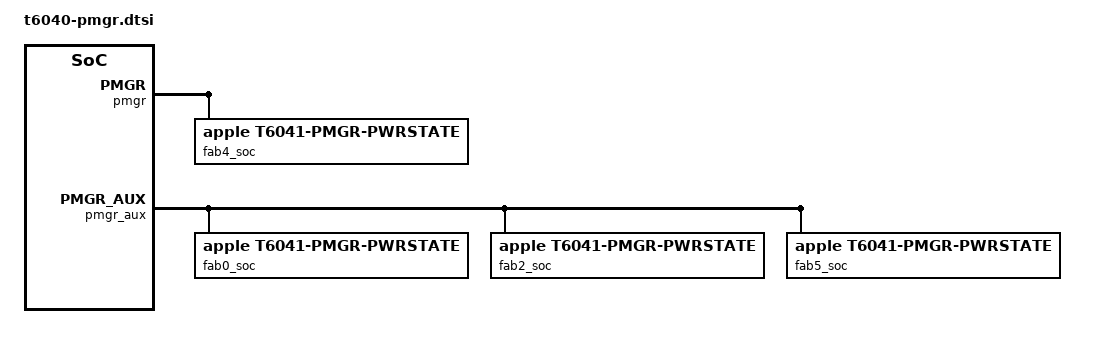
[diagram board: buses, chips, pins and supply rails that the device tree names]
// SPDX-License-Identifier: GPL-2.0+ OR MIT
/*
 * T6040 PMGR power domains the T6041 tree does not describe yet.
 *
 * The J773s and J616c ADTs list the same domains at the same offsets;
 * t604x-pmgr.dtsi holds the ones the J616c has qualified.
 *
 * Copyright The Asahi Linux Contributors
 */

&pmgr {
	ps_apcie_gp: power-controller@100 {
		compatible = "apple,t6041-pmgr-pwrstate", "apple,t8103-pmgr-pwrstate";
		reg = <0x100 4>;
		#power-domain-cells = <0>;
		#reset-cells = <0>;
		label = "apcie_gp";
		status = "disabled";
	};

	ps_fab4_soc: power-controller@128 {
		compatible = "apple,t6041-pmgr-pwrstate", "apple,t8103-pmgr-pwrstate";
		reg = <0x128 4>;
		#power-domain-cells = <0>;
		#reset-cells = <0>;
		label = "fab4_soc";
		power-domains = <&ps_afc>;
		apple,always-on;
	};

	ps_fpwm1: power-controller@140 {
		compatible = "apple,t6041-pmgr-pwrstate", "apple,t8103-pmgr-pwrstate";
		reg = <0x140 4>;
		#power-domain-cells = <0>;
		#reset-cells = <0>;
		label = "fpwm1";
		power-domains = <&ps_sio>;
		status = "disabled";
	};

	ps_fpwm2: power-controller@148 {
		compatible = "apple,t6041-pmgr-pwrstate", "apple,t8103-pmgr-pwrstate";
		reg = <0x148 4>;
		#power-domain-cells = <0>;
		#reset-cells = <0>;
		label = "fpwm2";
		power-domains = <&ps_sio>;
		status = "disabled";
	};

	ps_i2c0: power-controller@150 {
		compatible = "apple,t6041-pmgr-pwrstate", "apple,t8103-pmgr-pwrstate";
		reg = <0x150 4>;
		#power-domain-cells = <0>;
		#reset-cells = <0>;
		label = "i2c0";
		power-domains = <&ps_sio>;
		status = "disabled";
	};

	ps_i2c5: power-controller@178 {
		compatible = "apple,t6041-pmgr-pwrstate", "apple,t8103-pmgr-pwrstate";
		reg = <0x178 4>;
		#power-domain-cells = <0>;
		#reset-cells = <0>;
		label = "i2c5";
		power-domains = <&ps_sio>;
		status = "disabled";
	};

	ps_i2c7: power-controller@188 {
		compatible = "apple,t6041-pmgr-pwrstate", "apple,t8103-pmgr-pwrstate";
		reg = <0x188 4>;
		#power-domain-cells = <0>;
		#reset-cells = <0>;
		label = "i2c7";
		power-domains = <&ps_sio>;
		status = "disabled";
	};

	ps_uart_p: power-controller@1a0 {
		compatible = "apple,t6041-pmgr-pwrstate", "apple,t8103-pmgr-pwrstate";
		reg = <0x1a0 4>;
		#power-domain-cells = <0>;
		#reset-cells = <0>;
		label = "uart_p";
		power-domains = <&ps_sio>;
		status = "disabled";
	};

	ps_dpa_p: power-controller@1a8 {
		compatible = "apple,t6041-pmgr-pwrstate", "apple,t8103-pmgr-pwrstate";
		reg = <0x1a8 4>;
		#power-domain-cells = <0>;
		#reset-cells = <0>;
		label = "dpa_p";
		power-domains = <&ps_sio>;
		apple,always-on;
		status = "disabled";
	};

	ps_aes: power-controller@1b0 {
		compatible = "apple,t6041-pmgr-pwrstate", "apple,t8103-pmgr-pwrstate";
		reg = <0x1b0 4>;
		#power-domain-cells = <0>;
		#reset-cells = <0>;
		label = "aes";
		power-domains = <&ps_sio>;
		apple,always-on;
		status = "disabled";
	};

	ps_spi0: power-controller@1b8 {
		compatible = "apple,t6041-pmgr-pwrstate", "apple,t8103-pmgr-pwrstate";
		reg = <0x1b8 4>;
		#power-domain-cells = <0>;
		#reset-cells = <0>;
		label = "spi0";
		power-domains = <&ps_spi_p>;
		status = "disabled";
	};

	ps_spi1: power-controller@1c0 {
		compatible = "apple,t6041-pmgr-pwrstate", "apple,t8103-pmgr-pwrstate";
		reg = <0x1c0 4>;
		#power-domain-cells = <0>;
		#reset-cells = <0>;
		label = "spi1";
		power-domains = <&ps_spi_p>;
		status = "disabled";
	};

	ps_spi3: power-controller@1d0 {
		compatible = "apple,t6041-pmgr-pwrstate", "apple,t8103-pmgr-pwrstate";
		reg = <0x1d0 4>;
		#power-domain-cells = <0>;
		#reset-cells = <0>;
		label = "spi3";
		power-domains = <&ps_spi_p>;
		status = "disabled";
	};

	ps_spi4: power-controller@1d8 {
		compatible = "apple,t6041-pmgr-pwrstate", "apple,t8103-pmgr-pwrstate";
		reg = <0x1d8 4>;
		#power-domain-cells = <0>;
		#reset-cells = <0>;
		label = "spi4";
		power-domains = <&ps_spi_p>;
		status = "disabled";
	};

	ps_spi5: power-controller@1e0 {
		compatible = "apple,t6041-pmgr-pwrstate", "apple,t8103-pmgr-pwrstate";
		reg = <0x1e0 4>;
		#power-domain-cells = <0>;
		#reset-cells = <0>;
		label = "spi5";
		power-domains = <&ps_spi_p>;
		status = "disabled";
	};

	ps_uart_n: power-controller@1f0 {
		compatible = "apple,t6041-pmgr-pwrstate", "apple,t8103-pmgr-pwrstate";
		reg = <0x1f0 4>;
		#power-domain-cells = <0>;
		#reset-cells = <0>;
		label = "uart_n";
		power-domains = <&ps_uart_p>;
		status = "disabled";
	};

	ps_uart0: power-controller@1f8 {
		compatible = "apple,t6041-pmgr-pwrstate", "apple,t8103-pmgr-pwrstate";
		reg = <0x1f8 4>;
		#power-domain-cells = <0>;
		#reset-cells = <0>;
		label = "uart0";
		power-domains = <&ps_uart_p>;
		status = "disabled";
	};

	ps_uart1: power-controller@200 {
		compatible = "apple,t6041-pmgr-pwrstate", "apple,t8103-pmgr-pwrstate";
		reg = <0x200 4>;
		#power-domain-cells = <0>;
		#reset-cells = <0>;
		label = "uart1";
		power-domains = <&ps_uart_p>;
		status = "disabled";
	};

	ps_uart2: power-controller@208 {
		compatible = "apple,t6041-pmgr-pwrstate", "apple,t8103-pmgr-pwrstate";
		reg = <0x208 4>;
		#power-domain-cells = <0>;
		#reset-cells = <0>;
		label = "uart2";
		power-domains = <&ps_uart_p>;
		status = "disabled";
	};

	ps_uart3: power-controller@210 {
		compatible = "apple,t6041-pmgr-pwrstate", "apple,t8103-pmgr-pwrstate";
		reg = <0x210 4>;
		#power-domain-cells = <0>;
		#reset-cells = <0>;
		label = "uart3";
		power-domains = <&ps_uart_p>;
		status = "disabled";
	};

	ps_uart4: power-controller@218 {
		compatible = "apple,t6041-pmgr-pwrstate", "apple,t8103-pmgr-pwrstate";
		reg = <0x218 4>;
		#power-domain-cells = <0>;
		#reset-cells = <0>;
		label = "uart4";
		power-domains = <&ps_uart_p>;
		status = "disabled";
	};

	ps_uart5: power-controller@220 {
		compatible = "apple,t6041-pmgr-pwrstate", "apple,t8103-pmgr-pwrstate";
		reg = <0x220 4>;
		#power-domain-cells = <0>;
		#reset-cells = <0>;
		label = "uart5";
		power-domains = <&ps_uart_p>;
		status = "disabled";
	};

	ps_uart6: power-controller@228 {
		compatible = "apple,t6041-pmgr-pwrstate", "apple,t8103-pmgr-pwrstate";
		reg = <0x228 4>;
		#power-domain-cells = <0>;
		#reset-cells = <0>;
		label = "uart6";
		power-domains = <&ps_uart_p>;
		status = "disabled";
	};

	ps_dpa0: power-controller@230 {
		compatible = "apple,t6041-pmgr-pwrstate", "apple,t8103-pmgr-pwrstate";
		reg = <0x230 4>;
		#power-domain-cells = <0>;
		#reset-cells = <0>;
		label = "dpa0";
		power-domains = <&ps_dpa_p>;
		status = "disabled";
	};

	ps_dpa1: power-controller@238 {
		compatible = "apple,t6041-pmgr-pwrstate", "apple,t8103-pmgr-pwrstate";
		reg = <0x238 4>;
		#power-domain-cells = <0>;
		#reset-cells = <0>;
		label = "dpa1";
		power-domains = <&ps_dpa_p>;
		status = "disabled";
	};

	ps_dpa2: power-controller@240 {
		compatible = "apple,t6041-pmgr-pwrstate", "apple,t8103-pmgr-pwrstate";
		reg = <0x240 4>;
		#power-domain-cells = <0>;
		#reset-cells = <0>;
		label = "dpa2";
		power-domains = <&ps_dpa_p>;
		status = "disabled";
	};

	ps_dpa3: power-controller@248 {
		compatible = "apple,t6041-pmgr-pwrstate", "apple,t8103-pmgr-pwrstate";
		reg = <0x248 4>;
		#power-domain-cells = <0>;
		#reset-cells = <0>;
		label = "dpa3";
		power-domains = <&ps_dpa_p>;
		status = "disabled";
	};

	ps_dpa4: power-controller@250 {
		compatible = "apple,t6041-pmgr-pwrstate", "apple,t8103-pmgr-pwrstate";
		reg = <0x250 4>;
		#power-domain-cells = <0>;
		#reset-cells = <0>;
		label = "dpa4";
		power-domains = <&ps_dpa_p>;
		status = "disabled";
	};

	ps_disp_sys: power-controller@258 {
		compatible = "apple,t6041-pmgr-pwrstate", "apple,t8103-pmgr-pwrstate";
		reg = <0x258 4>;
		#power-domain-cells = <0>;
		#reset-cells = <0>;
		label = "disp_sys";
		power-domains = <&ps_fab6_soc>;
		status = "disabled";
	};

	ps_amcc4: power-controller@260 {
		compatible = "apple,t6041-pmgr-pwrstate", "apple,t8103-pmgr-pwrstate";
		reg = <0x260 4>;
		#power-domain-cells = <0>;
		#reset-cells = <0>;
		label = "amcc4";
		power-domains = <&ps_afc>;
		apple,always-on;
		status = "disabled";
	};

	ps_amcc5: power-controller@268 {
		compatible = "apple,t6041-pmgr-pwrstate", "apple,t8103-pmgr-pwrstate";
		reg = <0x268 4>;
		#power-domain-cells = <0>;
		#reset-cells = <0>;
		label = "amcc5";
		power-domains = <&ps_afc>;
		apple,always-on;
		status = "disabled";
	};

	ps_amcc6: power-controller@270 {
		compatible = "apple,t6041-pmgr-pwrstate", "apple,t8103-pmgr-pwrstate";
		reg = <0x270 4>;
		#power-domain-cells = <0>;
		#reset-cells = <0>;
		label = "amcc6";
		power-domains = <&ps_afc>;
		apple,always-on;
		status = "disabled";
	};

	ps_amcc7: power-controller@278 {
		compatible = "apple,t6041-pmgr-pwrstate", "apple,t8103-pmgr-pwrstate";
		reg = <0x278 4>;
		#power-domain-cells = <0>;
		#reset-cells = <0>;
		label = "amcc7";
		power-domains = <&ps_afc>;
		apple,always-on;
		status = "disabled";
	};

	ps_amcc12: power-controller@280 {
		compatible = "apple,t6041-pmgr-pwrstate", "apple,t8103-pmgr-pwrstate";
		reg = <0x280 4>;
		#power-domain-cells = <0>;
		#reset-cells = <0>;
		label = "amcc12";
		power-domains = <&ps_afc>;
		apple,always-on;
		status = "disabled";
	};

	ps_amcc13: power-controller@288 {
		compatible = "apple,t6041-pmgr-pwrstate", "apple,t8103-pmgr-pwrstate";
		reg = <0x288 4>;
		#power-domain-cells = <0>;
		#reset-cells = <0>;
		label = "amcc13";
		power-domains = <&ps_afc>;
		apple,always-on;
		status = "disabled";
	};

	ps_amcc14: power-controller@290 {
		compatible = "apple,t6041-pmgr-pwrstate", "apple,t8103-pmgr-pwrstate";
		reg = <0x290 4>;
		#power-domain-cells = <0>;
		#reset-cells = <0>;
		label = "amcc14";
		power-domains = <&ps_afc>;
		apple,always-on;
		status = "disabled";
	};

	ps_amcc15: power-controller@298 {
		compatible = "apple,t6041-pmgr-pwrstate", "apple,t8103-pmgr-pwrstate";
		reg = <0x298 4>;
		#power-domain-cells = <0>;
		#reset-cells = <0>;
		label = "amcc15";
		power-domains = <&ps_afc>;
		apple,always-on;
		status = "disabled";
	};

	ps_dcs_04: power-controller@2e0 {
		compatible = "apple,t6041-pmgr-pwrstate", "apple,t8103-pmgr-pwrstate";
		reg = <0x2e0 4>;
		#power-domain-cells = <0>;
		#reset-cells = <0>;
		label = "dcs_04";
		power-domains = <&ps_amcc4>;
		apple,always-on;
		status = "disabled";
	};

	ps_dcs_05: power-controller@2e8 {
		compatible = "apple,t6041-pmgr-pwrstate", "apple,t8103-pmgr-pwrstate";
		reg = <0x2e8 4>;
		#power-domain-cells = <0>;
		#reset-cells = <0>;
		label = "dcs_05";
		power-domains = <&ps_amcc5>;
		apple,always-on;
		status = "disabled";
	};

	ps_dcs_06: power-controller@2f0 {
		compatible = "apple,t6041-pmgr-pwrstate", "apple,t8103-pmgr-pwrstate";
		reg = <0x2f0 4>;
		#power-domain-cells = <0>;
		#reset-cells = <0>;
		label = "dcs_06";
		power-domains = <&ps_amcc6>;
		apple,always-on;
		status = "disabled";
	};

	ps_dcs_07: power-controller@2f8 {
		compatible = "apple,t6041-pmgr-pwrstate", "apple,t8103-pmgr-pwrstate";
		reg = <0x2f8 4>;
		#power-domain-cells = <0>;
		#reset-cells = <0>;
		label = "dcs_07";
		power-domains = <&ps_amcc7>;
		apple,always-on;
		status = "disabled";
	};

	ps_dcs_12: power-controller@300 {
		compatible = "apple,t6041-pmgr-pwrstate", "apple,t8103-pmgr-pwrstate";
		reg = <0x300 4>;
		#power-domain-cells = <0>;
		#reset-cells = <0>;
		label = "dcs_12";
		power-domains = <&ps_amcc12>;
		apple,always-on;
		status = "disabled";
	};

	ps_dcs_13: power-controller@308 {
		compatible = "apple,t6041-pmgr-pwrstate", "apple,t8103-pmgr-pwrstate";
		reg = <0x308 4>;
		#power-domain-cells = <0>;
		#reset-cells = <0>;
		label = "dcs_13";
		power-domains = <&ps_amcc13>;
		apple,always-on;
		status = "disabled";
	};

	ps_dcs_14: power-controller@310 {
		compatible = "apple,t6041-pmgr-pwrstate", "apple,t8103-pmgr-pwrstate";
		reg = <0x310 4>;
		#power-domain-cells = <0>;
		#reset-cells = <0>;
		label = "dcs_14";
		power-domains = <&ps_amcc14>;
		apple,always-on;
		status = "disabled";
	};

	ps_dcs_15: power-controller@318 {
		compatible = "apple,t6041-pmgr-pwrstate", "apple,t8103-pmgr-pwrstate";
		reg = <0x318 4>;
		#power-domain-cells = <0>;
		#reset-cells = <0>;
		label = "dcs_15";
		power-domains = <&ps_amcc15>;
		apple,always-on;
		status = "disabled";
	};

	ps_disp_fe: power-controller@368 {
		compatible = "apple,t6041-pmgr-pwrstate", "apple,t8103-pmgr-pwrstate";
		reg = <0x368 4>;
		#power-domain-cells = <0>;
		#reset-cells = <0>;
		label = "disp_fe";
		power-domains = <&ps_disp_sys>;
		status = "disabled";
	};

	ps_apcie_sys_gp: power-controller@390 {
		compatible = "apple,t6041-pmgr-pwrstate", "apple,t8103-pmgr-pwrstate";
		reg = <0x390 4>;
		#power-domain-cells = <0>;
		#reset-cells = <0>;
		label = "apcie_sys_gp";
		power-domains = <&ps_fab3_soc>, <&ps_apcie_gp>;
		status = "disabled";
	};

	ps_apcie_phy_sw: power-controller@398 {
		compatible = "apple,t6041-pmgr-pwrstate", "apple,t8103-pmgr-pwrstate";
		reg = <0x398 4>;
		#power-domain-cells = <0>;
		#reset-cells = <0>;
		label = "apcie_phy_sw";
		power-domains = <&ps_apcie_sys_st0>, <&ps_apcie_sys_st1>;
		status = "disabled";
	};
};

&pmgr_aux {
	ps_ecpu_0: power-controller@0 {
		compatible = "apple,t6041-pmgr-pwrstate", "apple,t8103-pmgr-pwrstate";
		reg = <0x0 4>;
		#power-domain-cells = <0>;
		#reset-cells = <0>;
		label = "ecpu_0";
		status = "disabled";
	};

	ps_ecpu_1: power-controller@8 {
		compatible = "apple,t6041-pmgr-pwrstate", "apple,t8103-pmgr-pwrstate";
		reg = <0x8 4>;
		#power-domain-cells = <0>;
		#reset-cells = <0>;
		label = "ecpu_1";
		status = "disabled";
	};

	ps_ecpu_2: power-controller@10 {
		compatible = "apple,t6041-pmgr-pwrstate", "apple,t8103-pmgr-pwrstate";
		reg = <0x10 4>;
		#power-domain-cells = <0>;
		#reset-cells = <0>;
		label = "ecpu_2";
		status = "disabled";
	};

	ps_ecpu_3: power-controller@18 {
		compatible = "apple,t6041-pmgr-pwrstate", "apple,t8103-pmgr-pwrstate";
		reg = <0x18 4>;
		#power-domain-cells = <0>;
		#reset-cells = <0>;
		label = "ecpu_3";
		status = "disabled";
	};

	ps_pcpu0_0: power-controller@20 {
		compatible = "apple,t6041-pmgr-pwrstate", "apple,t8103-pmgr-pwrstate";
		reg = <0x20 4>;
		#power-domain-cells = <0>;
		#reset-cells = <0>;
		label = "pcpu0_0";
		status = "disabled";
	};

	ps_pcpu0_1: power-controller@28 {
		compatible = "apple,t6041-pmgr-pwrstate", "apple,t8103-pmgr-pwrstate";
		reg = <0x28 4>;
		#power-domain-cells = <0>;
		#reset-cells = <0>;
		label = "pcpu0_1";
		status = "disabled";
	};

	ps_pcpu0_2: power-controller@30 {
		compatible = "apple,t6041-pmgr-pwrstate", "apple,t8103-pmgr-pwrstate";
		reg = <0x30 4>;
		#power-domain-cells = <0>;
		#reset-cells = <0>;
		label = "pcpu0_2";
		status = "disabled";
	};

	ps_pcpu0_3: power-controller@38 {
		compatible = "apple,t6041-pmgr-pwrstate", "apple,t8103-pmgr-pwrstate";
		reg = <0x38 4>;
		#power-domain-cells = <0>;
		#reset-cells = <0>;
		label = "pcpu0_3";
		status = "disabled";
	};

	ps_pcpu0_4: power-controller@40 {
		compatible = "apple,t6041-pmgr-pwrstate", "apple,t8103-pmgr-pwrstate";
		reg = <0x40 4>;
		#power-domain-cells = <0>;
		#reset-cells = <0>;
		label = "pcpu0_4";
		status = "disabled";
	};

	ps_pcpu0_5: power-controller@48 {
		compatible = "apple,t6041-pmgr-pwrstate", "apple,t8103-pmgr-pwrstate";
		reg = <0x48 4>;
		#power-domain-cells = <0>;
		#reset-cells = <0>;
		label = "pcpu0_5";
		status = "disabled";
	};

	ps_pcpu1_0: power-controller@50 {
		compatible = "apple,t6041-pmgr-pwrstate", "apple,t8103-pmgr-pwrstate";
		reg = <0x50 4>;
		#power-domain-cells = <0>;
		#reset-cells = <0>;
		label = "pcpu1_0";
		status = "disabled";
	};

	ps_pcpu1_1: power-controller@58 {
		compatible = "apple,t6041-pmgr-pwrstate", "apple,t8103-pmgr-pwrstate";
		reg = <0x58 4>;
		#power-domain-cells = <0>;
		#reset-cells = <0>;
		label = "pcpu1_1";
		status = "disabled";
	};

	ps_pcpu1_2: power-controller@60 {
		compatible = "apple,t6041-pmgr-pwrstate", "apple,t8103-pmgr-pwrstate";
		reg = <0x60 4>;
		#power-domain-cells = <0>;
		#reset-cells = <0>;
		label = "pcpu1_2";
		status = "disabled";
	};

	ps_pcpu1_3: power-controller@68 {
		compatible = "apple,t6041-pmgr-pwrstate", "apple,t8103-pmgr-pwrstate";
		reg = <0x68 4>;
		#power-domain-cells = <0>;
		#reset-cells = <0>;
		label = "pcpu1_3";
		status = "disabled";
	};

	ps_pcpu1_4: power-controller@70 {
		compatible = "apple,t6041-pmgr-pwrstate", "apple,t8103-pmgr-pwrstate";
		reg = <0x70 4>;
		#power-domain-cells = <0>;
		#reset-cells = <0>;
		label = "pcpu1_4";
		status = "disabled";
	};

	ps_pcpu1_5: power-controller@78 {
		compatible = "apple,t6041-pmgr-pwrstate", "apple,t8103-pmgr-pwrstate";
		reg = <0x78 4>;
		#power-domain-cells = <0>;
		#reset-cells = <0>;
		label = "pcpu1_5";
		status = "disabled";
	};

	ps_ecpm: power-controller@80 {
		compatible = "apple,t6041-pmgr-pwrstate", "apple,t8103-pmgr-pwrstate";
		reg = <0x80 4>;
		#power-domain-cells = <0>;
		#reset-cells = <0>;
		label = "ecpm";
		status = "disabled";
	};

	ps_pcpm0: power-controller@88 {
		compatible = "apple,t6041-pmgr-pwrstate", "apple,t8103-pmgr-pwrstate";
		reg = <0x88 4>;
		#power-domain-cells = <0>;
		#reset-cells = <0>;
		label = "pcpm0";
		status = "disabled";
	};

	ps_pcpm1: power-controller@90 {
		compatible = "apple,t6041-pmgr-pwrstate", "apple,t8103-pmgr-pwrstate";
		reg = <0x90 4>;
		#power-domain-cells = <0>;
		#reset-cells = <0>;
		label = "pcpm1";
		status = "disabled";
	};

	ps_dwi: power-controller@108 {
		compatible = "apple,t6041-pmgr-pwrstate", "apple,t8103-pmgr-pwrstate";
		reg = <0x108 4>;
		#power-domain-cells = <0>;
		#reset-cells = <0>;
		label = "dwi";
		status = "disabled";
	};

	ps_aic: power-controller@118 {
		compatible = "apple,t6041-pmgr-pwrstate", "apple,t8103-pmgr-pwrstate";
		reg = <0x118 4>;
		#power-domain-cells = <0>;
		#reset-cells = <0>;
		label = "aic";
		power-domains = <&ps_pms>;
		status = "disabled";
	};

	ps_pmc: power-controller@120 {
		compatible = "apple,t6041-pmgr-pwrstate", "apple,t8103-pmgr-pwrstate";
		reg = <0x120 4>;
		#power-domain-cells = <0>;
		#reset-cells = <0>;
		label = "pmc";
		power-domains = <&ps_pms>;
		apple,always-on;
		status = "disabled";
	};

	ps_pms_c1ppt: power-controller@128 {
		compatible = "apple,t6041-pmgr-pwrstate", "apple,t8103-pmgr-pwrstate";
		reg = <0x128 4>;
		#power-domain-cells = <0>;
		#reset-cells = <0>;
		label = "pms_c1ppt";
		power-domains = <&ps_pms>;
		apple,always-on;
		status = "disabled";
	};

	ps_soc_dpe: power-controller@130 {
		compatible = "apple,t6041-pmgr-pwrstate", "apple,t8103-pmgr-pwrstate";
		reg = <0x130 4>;
		#power-domain-cells = <0>;
		#reset-cells = <0>;
		label = "soc_dpe";
		power-domains = <&ps_pms>;
		apple,always-on;
		status = "disabled";
	};

	ps_pmgr_soc_ocla: power-controller@138 {
		compatible = "apple,t6041-pmgr-pwrstate", "apple,t8103-pmgr-pwrstate";
		reg = <0x138 4>;
		#power-domain-cells = <0>;
		#reset-cells = <0>;
		label = "pmgr_soc_ocla";
		status = "disabled";
	};

	ps_pms_fpwm0: power-controller@140 {
		compatible = "apple,t6041-pmgr-pwrstate", "apple,t8103-pmgr-pwrstate";
		reg = <0x140 4>;
		#power-domain-cells = <0>;
		#reset-cells = <0>;
		label = "pms_fpwm0";
		power-domains = <&ps_pms>;
		apple,always-on;
		status = "disabled";
	};

	ps_pms_fpwm1: power-controller@148 {
		compatible = "apple,t6041-pmgr-pwrstate", "apple,t8103-pmgr-pwrstate";
		reg = <0x148 4>;
		#power-domain-cells = <0>;
		#reset-cells = <0>;
		label = "pms_fpwm1";
		power-domains = <&ps_pms>;
		apple,always-on;
		status = "disabled";
	};

	ps_pms_fpwm2: power-controller@150 {
		compatible = "apple,t6041-pmgr-pwrstate", "apple,t8103-pmgr-pwrstate";
		reg = <0x150 4>;
		#power-domain-cells = <0>;
		#reset-cells = <0>;
		label = "pms_fpwm2";
		power-domains = <&ps_pms>;
		apple,always-on;
		status = "disabled";
	};

	ps_pms_fpwm3: power-controller@158 {
		compatible = "apple,t6041-pmgr-pwrstate", "apple,t8103-pmgr-pwrstate";
		reg = <0x158 4>;
		#power-domain-cells = <0>;
		#reset-cells = <0>;
		label = "pms_fpwm3";
		power-domains = <&ps_pms>;
		apple,always-on;
		status = "disabled";
	};

	ps_pms_fpwm4: power-controller@160 {
		compatible = "apple,t6041-pmgr-pwrstate", "apple,t8103-pmgr-pwrstate";
		reg = <0x160 4>;
		#power-domain-cells = <0>;
		#reset-cells = <0>;
		label = "pms_fpwm4";
		power-domains = <&ps_pms>;
		apple,always-on;
		status = "disabled";
	};

	ps_fab0_soc: power-controller@168 {
		compatible = "apple,t6041-pmgr-pwrstate", "apple,t8103-pmgr-pwrstate";
		reg = <0x168 4>;
		#power-domain-cells = <0>;
		#reset-cells = <0>;
		label = "fab0_soc";
		power-domains = <&ps_afi>;
		apple,always-on;
	};

	ps_amcc0: power-controller@180 {
		compatible = "apple,t6041-pmgr-pwrstate", "apple,t8103-pmgr-pwrstate";
		reg = <0x180 4>;
		#power-domain-cells = <0>;
		#reset-cells = <0>;
		label = "amcc0";
		power-domains = <&ps_afc>;
		apple,always-on;
		status = "disabled";
	};

	ps_dcs_00: power-controller@188 {
		compatible = "apple,t6041-pmgr-pwrstate", "apple,t8103-pmgr-pwrstate";
		reg = <0x188 4>;
		#power-domain-cells = <0>;
		#reset-cells = <0>;
		label = "dcs_00";
		power-domains = <&ps_amcc0>;
		apple,always-on;
		status = "disabled";
	};

	ps_rom: power-controller@190 {
		compatible = "apple,t6041-pmgr-pwrstate", "apple,t8103-pmgr-pwrstate";
		reg = <0x190 4>;
		#power-domain-cells = <0>;
		#reset-cells = <0>;
		label = "rom";
		power-domains = <&ps_amcc0>;
		status = "disabled";
	};

	ps_amcc1: power-controller@198 {
		compatible = "apple,t6041-pmgr-pwrstate", "apple,t8103-pmgr-pwrstate";
		reg = <0x198 4>;
		#power-domain-cells = <0>;
		#reset-cells = <0>;
		label = "amcc1";
		power-domains = <&ps_afc>;
		apple,always-on;
		status = "disabled";
	};

	ps_dcs_01: power-controller@1a0 {
		compatible = "apple,t6041-pmgr-pwrstate", "apple,t8103-pmgr-pwrstate";
		reg = <0x1a0 4>;
		#power-domain-cells = <0>;
		#reset-cells = <0>;
		label = "dcs_01";
		power-domains = <&ps_amcc1>;
		apple,always-on;
		status = "disabled";
	};

	ps_amcc2: power-controller@1a8 {
		compatible = "apple,t6041-pmgr-pwrstate", "apple,t8103-pmgr-pwrstate";
		reg = <0x1a8 4>;
		#power-domain-cells = <0>;
		#reset-cells = <0>;
		label = "amcc2";
		power-domains = <&ps_afc>;
		apple,always-on;
		status = "disabled";
	};

	ps_dcs_02: power-controller@1b0 {
		compatible = "apple,t6041-pmgr-pwrstate", "apple,t8103-pmgr-pwrstate";
		reg = <0x1b0 4>;
		#power-domain-cells = <0>;
		#reset-cells = <0>;
		label = "dcs_02";
		power-domains = <&ps_amcc2>;
		apple,always-on;
		status = "disabled";
	};

	ps_amcc3: power-controller@1b8 {
		compatible = "apple,t6041-pmgr-pwrstate", "apple,t8103-pmgr-pwrstate";
		reg = <0x1b8 4>;
		#power-domain-cells = <0>;
		#reset-cells = <0>;
		label = "amcc3";
		power-domains = <&ps_afc>;
		apple,always-on;
		status = "disabled";
	};

	ps_dcs_03: power-controller@1c0 {
		compatible = "apple,t6041-pmgr-pwrstate", "apple,t8103-pmgr-pwrstate";
		reg = <0x1c0 4>;
		#power-domain-cells = <0>;
		#reset-cells = <0>;
		label = "dcs_03";
		power-domains = <&ps_amcc3>;
		apple,always-on;
		status = "disabled";
	};

	ps_amcc8: power-controller@1c8 {
		compatible = "apple,t6041-pmgr-pwrstate", "apple,t8103-pmgr-pwrstate";
		reg = <0x1c8 4>;
		#power-domain-cells = <0>;
		#reset-cells = <0>;
		label = "amcc8";
		power-domains = <&ps_afc>;
		apple,always-on;
		status = "disabled";
	};

	ps_dcs_08: power-controller@1d0 {
		compatible = "apple,t6041-pmgr-pwrstate", "apple,t8103-pmgr-pwrstate";
		reg = <0x1d0 4>;
		#power-domain-cells = <0>;
		#reset-cells = <0>;
		label = "dcs_08";
		power-domains = <&ps_amcc8>;
		apple,always-on;
		status = "disabled";
	};

	ps_amcc9: power-controller@1d8 {
		compatible = "apple,t6041-pmgr-pwrstate", "apple,t8103-pmgr-pwrstate";
		reg = <0x1d8 4>;
		#power-domain-cells = <0>;
		#reset-cells = <0>;
		label = "amcc9";
		power-domains = <&ps_afc>;
		apple,always-on;
		status = "disabled";
	};

	ps_dcs_09: power-controller@1e0 {
		compatible = "apple,t6041-pmgr-pwrstate", "apple,t8103-pmgr-pwrstate";
		reg = <0x1e0 4>;
		#power-domain-cells = <0>;
		#reset-cells = <0>;
		label = "dcs_09";
		power-domains = <&ps_amcc9>;
		apple,always-on;
		status = "disabled";
	};

	ps_amcc10: power-controller@1e8 {
		compatible = "apple,t6041-pmgr-pwrstate", "apple,t8103-pmgr-pwrstate";
		reg = <0x1e8 4>;
		#power-domain-cells = <0>;
		#reset-cells = <0>;
		label = "amcc10";
		power-domains = <&ps_afc>;
		apple,always-on;
		status = "disabled";
	};

	ps_dcs_10: power-controller@1f0 {
		compatible = "apple,t6041-pmgr-pwrstate", "apple,t8103-pmgr-pwrstate";
		reg = <0x1f0 4>;
		#power-domain-cells = <0>;
		#reset-cells = <0>;
		label = "dcs_10";
		power-domains = <&ps_amcc10>;
		apple,always-on;
		status = "disabled";
	};

	ps_amcc11: power-controller@1f8 {
		compatible = "apple,t6041-pmgr-pwrstate", "apple,t8103-pmgr-pwrstate";
		reg = <0x1f8 4>;
		#power-domain-cells = <0>;
		#reset-cells = <0>;
		label = "amcc11";
		power-domains = <&ps_afc>;
		apple,always-on;
		status = "disabled";
	};

	ps_dcs_11: power-controller@200 {
		compatible = "apple,t6041-pmgr-pwrstate", "apple,t8103-pmgr-pwrstate";
		reg = <0x200 4>;
		#power-domain-cells = <0>;
		#reset-cells = <0>;
		label = "dcs_11";
		power-domains = <&ps_amcc11>;
		apple,always-on;
		status = "disabled";
	};

	ps_fab_gw_0: power-controller@288 {
		compatible = "apple,t6041-pmgr-pwrstate", "apple,t8103-pmgr-pwrstate";
		reg = <0x288 4>;
		#power-domain-cells = <0>;
		#reset-cells = <0>;
		label = "fab_gw_0";
		apple,always-on;
		status = "disabled";
	};

	ps_fab_gw_1: power-controller@290 {
		compatible = "apple,t6041-pmgr-pwrstate", "apple,t8103-pmgr-pwrstate";
		reg = <0x290 4>;
		#power-domain-cells = <0>;
		#reset-cells = <0>;
		label = "fab_gw_1";
		apple,always-on;
		status = "disabled";
	};

	ps_fab_afr: power-controller@298 {
		compatible = "apple,t6041-pmgr-pwrstate", "apple,t8103-pmgr-pwrstate";
		reg = <0x298 4>;
		#power-domain-cells = <0>;
		#reset-cells = <0>;
		label = "fab_afr";
		apple,always-on;
		status = "disabled";
	};

	ps_fab1_soc: power-controller@2d0 {
		compatible = "apple,t6041-pmgr-pwrstate", "apple,t8103-pmgr-pwrstate";
		reg = <0x2d0 4>;
		#power-domain-cells = <0>;
		#reset-cells = <0>;
		label = "fab1_soc";
		power-domains = <&ps_afi>;
		apple,always-on;
		status = "disabled";
	};

	ps_scodec: power-controller@328 {
		compatible = "apple,t6041-pmgr-pwrstate", "apple,t8103-pmgr-pwrstate";
		reg = <0x328 4>;
		#power-domain-cells = <0>;
		#reset-cells = <0>;
		label = "scodec";
		power-domains = <&ps_fab1_soc>;
		status = "disabled";
	};

	ps_scodec_streaming: power-controller@330 {
		compatible = "apple,t6041-pmgr-pwrstate", "apple,t8103-pmgr-pwrstate";
		reg = <0x330 4>;
		#power-domain-cells = <0>;
		#reset-cells = <0>;
		label = "scodec_streaming";
		power-domains = <&ps_scodec>;
		status = "disabled";
	};

	ps_fab2_soc: power-controller@338 {
		compatible = "apple,t6041-pmgr-pwrstate", "apple,t8103-pmgr-pwrstate";
		reg = <0x338 4>;
		#power-domain-cells = <0>;
		#reset-cells = <0>;
		label = "fab2_soc";
		power-domains = <&ps_afi>;
		apple,always-on;
	};

	ps_dispext0_sys: power-controller@340 {
		compatible = "apple,t6041-pmgr-pwrstate", "apple,t8103-pmgr-pwrstate";
		reg = <0x340 4>;
		#power-domain-cells = <0>;
		#reset-cells = <0>;
		label = "dispext0_sys";
		power-domains = <&ps_fab2_soc>;
		status = "disabled";
	};

	ps_dispext0_fe: power-controller@348 {
		compatible = "apple,t6041-pmgr-pwrstate", "apple,t8103-pmgr-pwrstate";
		reg = <0x348 4>;
		#power-domain-cells = <0>;
		#reset-cells = <0>;
		label = "dispext0_fe";
		power-domains = <&ps_dispext0_sys>;
		status = "disabled";
	};

	ps_dispext0_cpu: power-controller@350 {
		compatible = "apple,t6041-pmgr-pwrstate", "apple,t8103-pmgr-pwrstate";
		reg = <0x350 4>;
		#power-domain-cells = <0>;
		#reset-cells = <0>;
		label = "dispext0_cpu";
		power-domains = <&ps_dispext0_fe>;
		status = "disabled";
	};

	ps_atc0_cio: power-controller@398 {
		compatible = "apple,t6041-pmgr-pwrstate", "apple,t8103-pmgr-pwrstate";
		reg = <0x398 4>;
		#power-domain-cells = <0>;
		#reset-cells = <0>;
		label = "atc0_cio";
		power-domains = <&ps_atc0_common>;
		status = "disabled";
	};

	ps_atc0_pcie: power-controller@3a0 {
		compatible = "apple,t6041-pmgr-pwrstate", "apple,t8103-pmgr-pwrstate";
		reg = <0x3a0 4>;
		#power-domain-cells = <0>;
		#reset-cells = <0>;
		label = "atc0_pcie";
		power-domains = <&ps_atc0_common>;
		status = "disabled";
	};

	ps_atc0_cio_pcie: power-controller@3a8 {
		compatible = "apple,t6041-pmgr-pwrstate", "apple,t8103-pmgr-pwrstate";
		reg = <0x3a8 4>;
		#power-domain-cells = <0>;
		#reset-cells = <0>;
		label = "atc0_cio_pcie";
		power-domains = <&ps_atc0_cio>;
		status = "disabled";
	};

	ps_atc0_cio_usb: power-controller@3b0 {
		compatible = "apple,t6041-pmgr-pwrstate", "apple,t8103-pmgr-pwrstate";
		reg = <0x3b0 4>;
		#power-domain-cells = <0>;
		#reset-cells = <0>;
		label = "atc0_cio_usb";
		power-domains = <&ps_atc0_cio>;
		status = "disabled";
	};

	ps_atc1_cio: power-controller@3c0 {
		compatible = "apple,t6041-pmgr-pwrstate", "apple,t8103-pmgr-pwrstate";
		reg = <0x3c0 4>;
		#power-domain-cells = <0>;
		#reset-cells = <0>;
		label = "atc1_cio";
		power-domains = <&ps_atc1_common>;
		status = "disabled";
	};

	ps_atc1_pcie: power-controller@3c8 {
		compatible = "apple,t6041-pmgr-pwrstate", "apple,t8103-pmgr-pwrstate";
		reg = <0x3c8 4>;
		#power-domain-cells = <0>;
		#reset-cells = <0>;
		label = "atc1_pcie";
		power-domains = <&ps_atc1_common>;
		status = "disabled";
	};

	ps_atc1_cio_pcie: power-controller@3d0 {
		compatible = "apple,t6041-pmgr-pwrstate", "apple,t8103-pmgr-pwrstate";
		reg = <0x3d0 4>;
		#power-domain-cells = <0>;
		#reset-cells = <0>;
		label = "atc1_cio_pcie";
		power-domains = <&ps_atc1_cio>;
		status = "disabled";
	};

	ps_atc1_cio_usb: power-controller@3d8 {
		compatible = "apple,t6041-pmgr-pwrstate", "apple,t8103-pmgr-pwrstate";
		reg = <0x3d8 4>;
		#power-domain-cells = <0>;
		#reset-cells = <0>;
		label = "atc1_cio_usb";
		power-domains = <&ps_atc1_cio>;
		status = "disabled";
	};

	ps_atc2_cio: power-controller@3e8 {
		compatible = "apple,t6041-pmgr-pwrstate", "apple,t8103-pmgr-pwrstate";
		reg = <0x3e8 4>;
		#power-domain-cells = <0>;
		#reset-cells = <0>;
		label = "atc2_cio";
		power-domains = <&ps_atc2_common>;
		status = "disabled";
	};

	ps_atc2_pcie: power-controller@3f0 {
		compatible = "apple,t6041-pmgr-pwrstate", "apple,t8103-pmgr-pwrstate";
		reg = <0x3f0 4>;
		#power-domain-cells = <0>;
		#reset-cells = <0>;
		label = "atc2_pcie";
		power-domains = <&ps_atc2_common>;
		status = "disabled";
	};

	ps_atc2_cio_pcie: power-controller@3f8 {
		compatible = "apple,t6041-pmgr-pwrstate", "apple,t8103-pmgr-pwrstate";
		reg = <0x3f8 4>;
		#power-domain-cells = <0>;
		#reset-cells = <0>;
		label = "atc2_cio_pcie";
		power-domains = <&ps_atc2_cio>;
		status = "disabled";
	};

	ps_atc2_cio_usb: power-controller@400 {
		compatible = "apple,t6041-pmgr-pwrstate", "apple,t8103-pmgr-pwrstate";
		reg = <0x400 4>;
		#power-domain-cells = <0>;
		#reset-cells = <0>;
		label = "atc2_cio_usb";
		power-domains = <&ps_atc2_cio>;
		status = "disabled";
	};

	ps_atc3_cio: power-controller@420 {
		compatible = "apple,t6041-pmgr-pwrstate", "apple,t8103-pmgr-pwrstate";
		reg = <0x420 4>;
		#power-domain-cells = <0>;
		#reset-cells = <0>;
		label = "atc3_cio";
		power-domains = <&ps_atc3_common>;
		status = "disabled";
	};

	ps_atc3_pcie: power-controller@428 {
		compatible = "apple,t6041-pmgr-pwrstate", "apple,t8103-pmgr-pwrstate";
		reg = <0x428 4>;
		#power-domain-cells = <0>;
		#reset-cells = <0>;
		label = "atc3_pcie";
		power-domains = <&ps_atc3_common>;
		status = "disabled";
	};

	ps_atc3_cio_pcie: power-controller@430 {
		compatible = "apple,t6041-pmgr-pwrstate", "apple,t8103-pmgr-pwrstate";
		reg = <0x430 4>;
		#power-domain-cells = <0>;
		#reset-cells = <0>;
		label = "atc3_cio_pcie";
		power-domains = <&ps_atc3_cio>;
		status = "disabled";
	};

	ps_atc3_cio_usb: power-controller@438 {
		compatible = "apple,t6041-pmgr-pwrstate", "apple,t8103-pmgr-pwrstate";
		reg = <0x438 4>;
		#power-domain-cells = <0>;
		#reset-cells = <0>;
		label = "atc3_cio_usb";
		power-domains = <&ps_atc3_cio>;
		status = "disabled";
	};

	ps_fab5_soc: power-controller@440 {
		compatible = "apple,t6041-pmgr-pwrstate", "apple,t8103-pmgr-pwrstate";
		reg = <0x440 4>;
		#power-domain-cells = <0>;
		#reset-cells = <0>;
		label = "fab5_soc";
		power-domains = <&ps_afi>;
		apple,always-on;
	};

	ps_sbr: power-controller@448 {
		compatible = "apple,t6041-pmgr-pwrstate", "apple,t8103-pmgr-pwrstate";
		reg = <0x448 4>;
		#power-domain-cells = <0>;
		#reset-cells = <0>;
		label = "sbr";
		power-domains = <&ps_fab5_soc>;
		apple,always-on;
		status = "disabled";
	};

	ps_gpio: power-controller@450 {
		compatible = "apple,t6041-pmgr-pwrstate", "apple,t8103-pmgr-pwrstate";
		reg = <0x450 4>;
		#power-domain-cells = <0>;
		#reset-cells = <0>;
		label = "gpio";
		power-domains = <&ps_sbr>;
		status = "disabled";
	};

	ps_msg: power-controller@458 {
		compatible = "apple,t6041-pmgr-pwrstate", "apple,t8103-pmgr-pwrstate";
		reg = <0x458 4>;
		#power-domain-cells = <0>;
		#reset-cells = <0>;
		label = "msg";
		power-domains = <&ps_sbr>;
		status = "disabled";
	};

	ps_ap_tmm: power-controller@468 {
		compatible = "apple,t6041-pmgr-pwrstate", "apple,t8103-pmgr-pwrstate";
		reg = <0x468 4>;
		#power-domain-cells = <0>;
		#reset-cells = <0>;
		label = "ap_tmm";
		power-domains = <&ps_sbr>;
		status = "disabled";
	};

	/* MSR0-DART (gate 425) aliases physical MSR0 (130), like MSR0-V. */
	ps_msr0: ps_msr0_dart: power-controller@470 {
		compatible = "apple,t6041-pmgr-pwrstate", "apple,t8103-pmgr-pwrstate";
		reg = <0x470 4>;
		#power-domain-cells = <0>;
		#reset-cells = <0>;
		label = "msr0";
		power-domains = <&ps_fab5_soc>;
		status = "disabled";
	};

	ps_msr0_ase_core: power-controller@478 {
		compatible = "apple,t6041-pmgr-pwrstate", "apple,t8103-pmgr-pwrstate";
		reg = <0x478 4>;
		#power-domain-cells = <0>;
		#reset-cells = <0>;
		label = "msr0_ase_core";
		power-domains = <&ps_msr0>;
		status = "disabled";
	};

	ps_fab7_soc: power-controller@488 {
		compatible = "apple,t6041-pmgr-pwrstate", "apple,t8103-pmgr-pwrstate";
		reg = <0x488 4>;
		#power-domain-cells = <0>;
		#reset-cells = <0>;
		label = "fab7_soc";
		power-domains = <&ps_afi>;
		apple,always-on;
		status = "disabled";
	};

	ps_dispext1_sys: power-controller@490 {
		compatible = "apple,t6041-pmgr-pwrstate", "apple,t8103-pmgr-pwrstate";
		reg = <0x490 4>;
		#power-domain-cells = <0>;
		#reset-cells = <0>;
		label = "dispext1_sys";
		power-domains = <&ps_fab7_soc>;
		status = "disabled";
	};

	ps_dispext1_fe: power-controller@498 {
		compatible = "apple,t6041-pmgr-pwrstate", "apple,t8103-pmgr-pwrstate";
		reg = <0x498 4>;
		#power-domain-cells = <0>;
		#reset-cells = <0>;
		label = "dispext1_fe";
		power-domains = <&ps_dispext1_sys>;
		status = "disabled";
	};

	ps_dispext1_cpu: power-controller@4a0 {
		compatible = "apple,t6041-pmgr-pwrstate", "apple,t8103-pmgr-pwrstate";
		reg = <0x4a0 4>;
		#power-domain-cells = <0>;
		#reset-cells = <0>;
		label = "dispext1_cpu";
		power-domains = <&ps_dispext1_fe>;
		status = "disabled";
	};
};

&pmgr_mini {
	ps_debug_gated: power-controller@0 {
		compatible = "apple,t6041-pmgr-pwrstate", "apple,t8103-pmgr-pwrstate";
		reg = <0x0 4>;
		#power-domain-cells = <0>;
		#reset-cells = <0>;
		label = "debug_gated";
		apple,always-on;
		status = "disabled";
	};

	ps_nub_spmi_ahb: power-controller@58 {
		compatible = "apple,t6041-pmgr-pwrstate", "apple,t8103-pmgr-pwrstate";
		reg = <0x58 4>;
		#power-domain-cells = <0>;
		#reset-cells = <0>;
		label = "nub_spmi_ahb";
		apple,always-on;
		status = "disabled";
	};

	ps_nub_spmi0: power-controller@60 {
		compatible = "apple,t6041-pmgr-pwrstate", "apple,t8103-pmgr-pwrstate";
		reg = <0x60 4>;
		#power-domain-cells = <0>;
		#reset-cells = <0>;
		label = "nub_spmi0";
		power-domains = <&ps_nub_spmi_ahb>;
		apple,always-on;
		status = "disabled";
	};

	ps_nub_spmi_a2: power-controller@78 {
		compatible = "apple,t6041-pmgr-pwrstate", "apple,t8103-pmgr-pwrstate";
		reg = <0x78 4>;
		#power-domain-cells = <0>;
		#reset-cells = <0>;
		label = "nub_spmi_a2";
		apple,always-on;
		status = "disabled";
	};

	ps_nub_spi0: power-controller@80 {
		compatible = "apple,t6041-pmgr-pwrstate", "apple,t8103-pmgr-pwrstate";
		reg = <0x80 4>;
		#power-domain-cells = <0>;
		#reset-cells = <0>;
		label = "nub_spi0";
		apple,always-on;
		status = "disabled";
	};

	ps_nub_aon: power-controller@88 {
		compatible = "apple,t6041-pmgr-pwrstate", "apple,t8103-pmgr-pwrstate";
		reg = <0x88 4>;
		#power-domain-cells = <0>;
		#reset-cells = <0>;
		label = "nub_aon";
		apple,always-on;
		status = "disabled";
	};

	ps_nub_ocla: power-controller@98 {
		compatible = "apple,t6041-pmgr-pwrstate", "apple,t8103-pmgr-pwrstate";
		reg = <0x98 4>;
		#power-domain-cells = <0>;
		#reset-cells = <0>;
		label = "nub_ocla";
		apple,always-on;
		status = "disabled";
	};

	ps_nub_spmi1: power-controller@c0 {
		compatible = "apple,t6041-pmgr-pwrstate", "apple,t8103-pmgr-pwrstate";
		reg = <0xc0 4>;
		#power-domain-cells = <0>;
		#reset-cells = <0>;
		label = "nub_spmi1";
		power-domains = <&ps_nub_spmi_ahb>;
		apple,always-on;
		status = "disabled";
	};

	ps_nub_spmi2: power-controller@e8 {
		compatible = "apple,t6041-pmgr-pwrstate", "apple,t8103-pmgr-pwrstate";
		reg = <0xe8 4>;
		#power-domain-cells = <0>;
		#reset-cells = <0>;
		label = "nub_spmi2";
		power-domains = <&ps_nub_spmi_ahb>;
		apple,always-on;
		status = "disabled";
	};

	ps_nub_spmi3: power-controller@f0 {
		compatible = "apple,t6041-pmgr-pwrstate", "apple,t8103-pmgr-pwrstate";
		reg = <0xf0 4>;
		#power-domain-cells = <0>;
		#reset-cells = <0>;
		label = "nub_spmi3";
		power-domains = <&ps_nub_spmi_ahb>;
		apple,always-on;
		status = "disabled";
	};

	ps_nub_spmi4: power-controller@f8 {
		compatible = "apple,t6041-pmgr-pwrstate", "apple,t8103-pmgr-pwrstate";
		reg = <0xf8 4>;
		#power-domain-cells = <0>;
		#reset-cells = <0>;
		label = "nub_spmi4";
		power-domains = <&ps_nub_spmi_ahb>;
		apple,always-on;
		status = "disabled";
	};

	ps_nub_fabric: power-controller@100 {
		compatible = "apple,t6041-pmgr-pwrstate", "apple,t8103-pmgr-pwrstate";
		reg = <0x100 4>;
		#power-domain-cells = <0>;
		#reset-cells = <0>;
		label = "nub_fabric";
		apple,always-on;
		status = "disabled";
	};

	ps_nub_sram: power-controller@108 {
		compatible = "apple,t6041-pmgr-pwrstate", "apple,t8103-pmgr-pwrstate";
		reg = <0x108 4>;
		#power-domain-cells = <0>;
		#reset-cells = <0>;
		label = "nub_sram";
		power-domains = <&ps_nub_fabric>;
		apple,always-on;
		status = "disabled";
	};

	ps_debug_switch: power-controller@110 {
		compatible = "apple,t6041-pmgr-pwrstate", "apple,t8103-pmgr-pwrstate";
		reg = <0x110 4>;
		#power-domain-cells = <0>;
		#reset-cells = <0>;
		label = "debug_switch";
		apple,always-on;
		status = "disabled";
	};
};

&pmgr_gfx {
	ps_gpx: power-controller@0 {
		compatible = "apple,t6041-pmgr-pwrstate", "apple,t8103-pmgr-pwrstate";
		reg = <0x0 4>;
		#power-domain-cells = <0>;
		#reset-cells = <0>;
		label = "gpx";
		apple,always-on;
		status = "disabled";
	};
};

&pmgr_disp {
	ps_disp_cpu: power-controller@0 {
		compatible = "apple,t6041-pmgr-pwrstate", "apple,t8103-pmgr-pwrstate";
		reg = <0x0 4>;
		#power-domain-cells = <0>;
		#reset-cells = <0>;
		label = "disp_cpu";
		power-domains = <&ps_disp_fe>;
		status = "disabled";
	};
};

&ps_avd_sys {
	power-domains = <&ps_fab0_soc>;
};

&ps_atc0_common {
	power-domains = <&ps_fab2_soc>;
};

&ps_atc1_common {
	power-domains = <&ps_fab2_soc>;
};

&ps_atc2_common {
	power-domains = <&ps_fab2_soc>;
};

&ps_atc3_common {
	power-domains = <&ps_fab2_soc>;
};

&ps_ane_sys {
	power-domains = <&ps_fab5_soc>, <&ps_fab4_soc>;
};

&ps_pmp {
	power-domains = <&ps_pms>;
};

&ps_pms_sram {
	power-domains = <&ps_pms>;
};

&ps_jpg {
	power-domains = <&ps_fab4_soc>;
};

&ps_venc0_sys {
	power-domains = <&ps_fab0_soc>;
};
